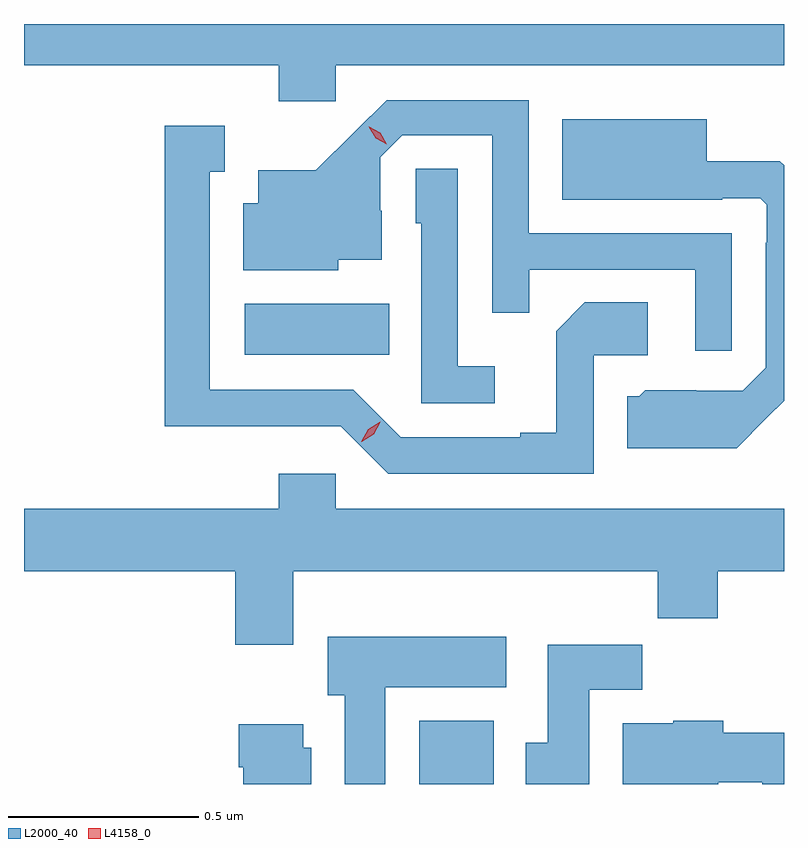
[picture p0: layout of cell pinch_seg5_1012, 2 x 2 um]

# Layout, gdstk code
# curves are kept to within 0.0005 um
import gdstk
lib = gdstk.Library(unit=1e-6, precision=1e-09)
def R(c, l, rs):  # rectangles x0, y0, x1, y1
    for r in rs: c.add(gdstk.rectangle(r[:2], r[2:], *l))
def P(c, l, *ps):  # polygons
    for p in ps: c.add(gdstk.Polygon(p, *l))
L2000_40 = (2000, 40)
L4158_0 = (4158, 0)

pinch_seg5_1012 = lib.new_cell('pinch_seg5_1012')
R(pinch_seg5_1012, L2000_40, [(726.357,896.16,726.553,896.326), (725.898,897.29,726.278,897.424)])
P(pinch_seg5_1012, L2000_40, [(726.138,898.052),(727.317,898.052),(727.317,898.16),(725.317,898.16),(725.317,898.052),(725.987,898.052),(725.987,897.957),(726.138,897.957)],
  [(727.179,897.609),(726.645,897.609),(726.645,897.96),(726.272,897.96),(726.085,897.775),(725.933,897.775),(725.933,897.688),(725.894,897.688),(725.894,897.512),(726.144,897.512),(726.144,897.539),(726.259,897.539),(726.259,897.668),(726.255,897.668),(726.255,897.81),(726.312,897.867),(726.549,897.867),(726.549,897.4),(726.647,897.4),(726.647,897.513),(727.083,897.513),(727.083,897.3),(727.179,897.3)],
  [(727.273,897.125),(727.317,897.169),(727.317,897.788),(727.306,897.799),(727.114,897.799),(727.114,897.91),(726.734,897.91),(726.734,897.698),(727.154,897.698),(727.154,897.702),(727.254,897.702),(727.272,897.684),(727.272,897.584),(727.269,897.584),(727.269,897.255),(727.209,897.195),(727.086,897.195),(727.086,897.196),(726.952,897.196),(726.936,897.18),(726.905,897.18),(726.905,897.044),(727.193,897.044)],
  [(726.816,897.288),(726.958,897.288),(726.958,897.428),(726.793,897.428),(726.717,897.352),(726.717,897.085),(726.623,897.085),(726.623,897.072),(726.309,897.072),(726.183,897.198),(725.806,897.198),(725.806,897.771),(725.845,897.771),(725.845,897.892),(725.688,897.892),(725.688,897.101),(725.928,897.101),(725.928,897.102),(726.15,897.102),(726.276,896.976),(726.816,896.976)],
  [(726.556,897.259),(726.459,897.259),(726.459,897.779),(726.348,897.779),(726.348,897.636),(726.363,897.636),(726.363,897.162),(726.556,897.162)],
  [(726.025,896.72),(726.985,896.72),(726.985,896.596),(727.142,896.596),(727.142,896.72),(727.317,896.72),(727.317,896.884),(726.138,896.884),(726.138,896.977),(725.987,896.977),(725.987,896.884),(725.317,896.884),(725.317,896.72),(725.873,896.72),(725.873,896.526),(726.025,896.526)],
  [(726.268,896.414),(726.586,896.414),(726.586,896.548),(726.116,896.548),(726.116,896.394),(726.161,896.394),(726.161,896.16),(726.268,896.16)],
  [(726.805,896.408),(726.944,896.408),(726.944,896.527),(726.695,896.527),(726.695,896.268),(726.638,896.268),(726.638,896.16),(726.805,896.16)],
  [(727.144,896.165),(727.26,896.165),(727.26,896.16),(727.317,896.16),(727.317,896.295),(727.157,896.295),(727.157,896.326),(727.026,896.326),(727.026,896.32),(726.893,896.32),(726.893,896.16),(727.144,896.16)],
  [(726.073,896.256),(726.052,896.256),(726.052,896.317),(725.882,896.317),(725.882,896.204),(725.894,896.204),(725.894,896.16),(726.073,896.16)])
P(pinch_seg5_1012, L4158_0, [(726.272,897.844),(726.242,897.859),(726.224,897.889),(726.224,897.889),(726.225,897.889),(726.255,897.874),(726.272,897.844),(726.272,897.844)],
  [(726.205,897.061),(726.205,897.061),(726.223,897.094),(726.255,897.113),(726.255,897.113),(726.255,897.112),(726.237,897.08),(726.206,897.061)])

lib.write_gds('pinch_seg5_1012.gds')
